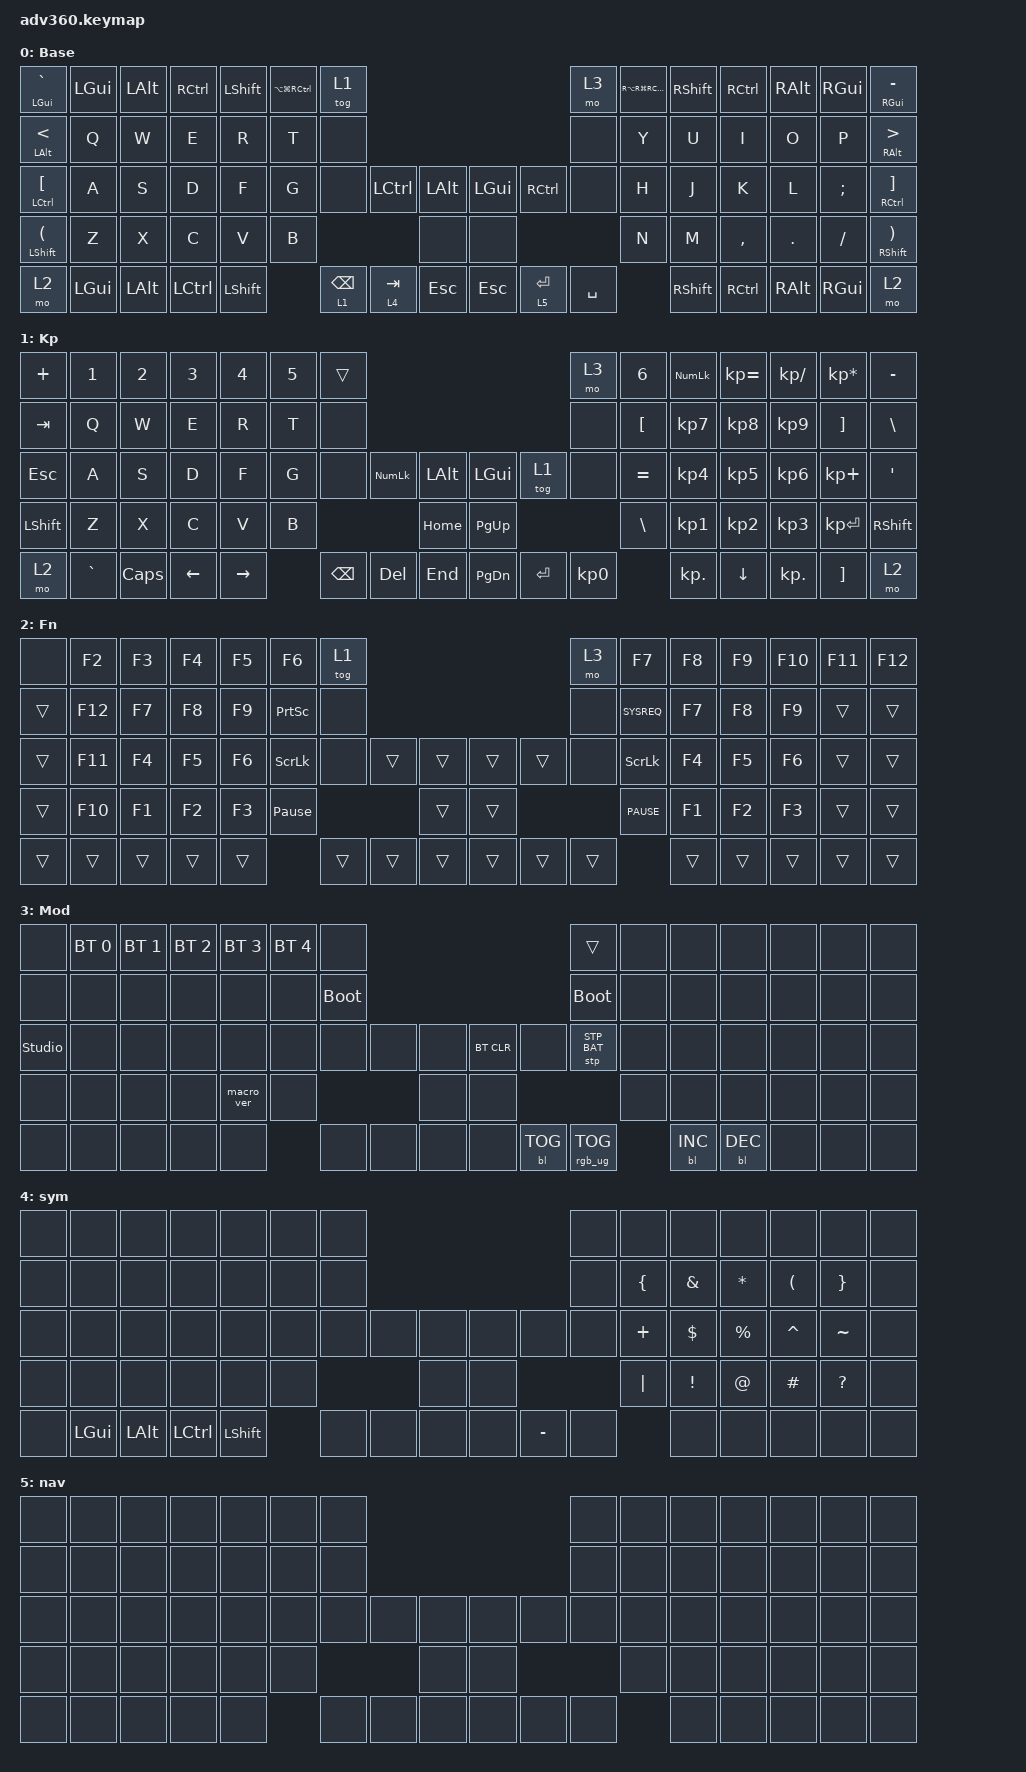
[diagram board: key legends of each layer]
#include <dt-bindings/zmk/stp.h>
#include <behaviors.dtsi>
#include <dt-bindings/zmk/backlight.h>
#include <dt-bindings/zmk/bt.h>
#include <dt-bindings/zmk/keys.h>
#include <dt-bindings/zmk/rgb.h>

/ {
    behaviors {
        #include "macros.dtsi"
      #include "version.dtsi"

        hm: homerow_mods {
            compatible = "zmk,behavior-hold-tap";
            label = "HOMEROW_MODS";
            #binding-cells = <2>;
            tapping-term-ms = <200>;
            quick_tap_ms = <200>;
            flavor = "tap-preferred";
            bindings = <&kp>, <&kp>;

            quick-tap-ms = <200>;
        };
    };

    keymap {
        compatible = "zmk,keymap";

        default_layer {
            display-name = "Base";
            bindings = <
&hm LEFT_GUI GRAVE          &kp LEFT_GUI  &kp LALT      &kp RCTRL  &kp LEFT_SHIFT  &kp LA(LG(RCTRL))  &tog 1                                                                &mo 3      &kp RA(RG(RCTRL))  &kp RIGHT_SHIFT  &kp RCTRL  &kp RIGHT_ALT  &kp RIGHT_GUI  &hm RIGHT_GUI MINUS
&hm LEFT_ALT LT             &kp Q         &kp W         &kp E      &kp R           &kp T              &none                                                                 &none      &kp Y              &kp U            &kp I      &kp O          &kp P          &hm RIGHT_ALT GREATER_THAN
&hm LCTRL LEFT_BRACKET      &kp A         &kp S         &kp D      &kp F           &kp G              &none            &kp LCTRL  &kp LALT        &kp LGUI    &kp RCTRL     &none      &kp H              &kp J            &kp K      &kp L          &kp SEMICOLON  &hm RCTRL RIGHT_BRACKET
&hm LSHFT LEFT_PARENTHESIS  &kp Z         &kp X         &kp C      &kp V           &kp B                                          &none           &none                                &kp N              &kp M            &kp COMMA  &kp DOT        &kp FSLH       &hm RSHFT RIGHT_PARENTHESIS
&mo 2                       &kp LEFT_GUI  &kp LEFT_ALT  &kp LCTRL  &kp LEFT_SHIFT                     &lt 1 BACKSPACE  &lt 4 TAB  &kp ESCAPE      &kp ESCAPE  &lt 5 RETURN  &kp SPACE                     &kp RIGHT_SHIFT  &kp RCTRL  &kp RIGHT_ALT  &kp RIGHT_GUI  &mo 2
            >;
        };

        keypad {
            display-name = "Kp";
            bindings = <
&kp PLUS   &kp NUMBER_1  &kp N2    &kp N3    &kp N4     &kp N5  &trans                                                    &mo 3      &kp N6            &kp KP_NUM  &kp KP_EQUAL  &kp KP_DIVIDE  &kp KP_MULTIPLY    &kp MINUS
&kp TAB    &kp Q         &kp W     &kp E     &kp R      &kp T   &none                                                     &none      &kp LEFT_BRACKET  &kp KP_N7   &kp KP_N8     &kp KP_N9      &kp RIGHT_BRACKET  &kp BSLH
&kp ESC    &kp A         &kp S     &kp D     &kp F      &kp G   &none     &kp KP_NUM  &kp LALT      &kp LGUI   &tog 1     &none      &kp EQUAL         &kp KP_N4   &kp KP_N5     &kp KP_N6      &kp KP_PLUS        &kp SQT
&kp LSHFT  &kp Z         &kp X     &kp C     &kp V      &kp B                         &kp HOME      &kp PG_UP                        &kp BACKSLASH     &kp KP_N1   &kp KP_N2     &kp KP_N3      &kp KP_ENTER       &kp RSHFT
&mo 2      &kp GRAVE     &kp CAPS  &kp LEFT  &kp RIGHT          &kp BSPC  &kp DEL     &kp END       &kp PG_DN  &kp ENTER  &kp KP_N0                    &kp KP_DOT  &kp DOWN      &kp KP_DOT     &kp RBKT           &mo 2
            >;
        };

        fn {
            display-name = "Fn";
            bindings = <
&none   &kp F2   &kp F3  &kp F4  &kp F5  &kp F6           &tog 1                                      &mo 3   &kp F7          &kp F8  &kp F9  &kp F10  &kp F11  &kp F12
&trans  &kp F12  &kp F7  &kp F8  &kp F9  &kp PRINTSCREEN  &none                                       &none   &kp SYSREQ      &kp F7  &kp F8  &kp F9   &trans   &trans
&trans  &kp F11  &kp F4  &kp F5  &kp F6  &kp SCROLLLOCK   &none   &trans  &trans      &trans  &trans  &none   &kp SCROLLLOCK  &kp F4  &kp F5  &kp F6   &trans   &trans
&trans  &kp F10  &kp F1  &kp F2  &kp F3  &kp PAUSE_BREAK                  &trans      &trans                  &kp C_PAUSE     &kp F1  &kp F2  &kp F3   &trans   &trans
&trans  &trans   &trans  &trans  &trans                   &trans  &trans  &trans      &trans  &trans  &trans                  &trans  &trans  &trans   &trans   &trans
            >;
        };

        mod {
            display-name = "Mod";
            bindings = <
&none           &bt BT_SEL 0  &bt BT_SEL 1  &bt BT_SEL 2  &bt BT_SEL 3  &bt BT_SEL 4  &none                                                  &trans           &none  &none       &none       &none  &none  &none
&none           &none         &none         &none         &none         &none         &bootloader                                            &bootloader      &none  &none       &none       &none  &none  &none
&studio_unlock  &none         &none         &none         &none         &none         &none        &none  &none      &bt BT_CLR  &none       &stp STP_BAT     &none  &none       &none       &none  &none  &none
&none           &none         &none         &none         &macro_ver    &none                             &none      &none                                    &none  &none       &none       &none  &none  &none
&none           &none         &none         &none         &none                       &none        &none  &none      &none       &bl BL_TOG  &rgb_ug RGB_TOG         &bl BL_INC  &bl BL_DEC  &none  &none  &none
            >;
        };

        sym {
            bindings = <
&none  &none         &none         &none      &none           &none  &none                                      &none  &none           &none            &none         &none                 &none            &none
&none  &none         &none         &none      &none           &none  &none                                      &none  &kp LEFT_BRACE  &kp AMPERSAND    &kp ASTERISK  &kp LEFT_PARENTHESIS  &kp RIGHT_BRACE  &none
&none  &none         &none         &none      &none           &none  &none  &none  &none      &none  &none      &none  &kp PLUS        &kp DOLLAR       &kp PERCENT   &kp CARET             &kp TILDE        &none
&none  &none         &none         &none      &none           &none                &none      &none                    &kp PIPE        &kp EXCLAMATION  &kp AT_SIGN   &kp HASH              &kp QUESTION     &none
&none  &kp LEFT_GUI  &kp LEFT_ALT  &kp LCTRL  &kp LEFT_SHIFT         &none  &none  &none      &none  &kp MINUS  &none                  &none            &none         &none                 &none            &none
            >;
        };

        nav {
            bindings = <
&none  &none  &none  &none  &none  &none  &none                                  &none  &none  &none  &none  &none  &none  &none
&none  &none  &none  &none  &none  &none  &none                                  &none  &none  &none  &none  &none  &none  &none
&none  &none  &none  &none  &none  &none  &none  &none  &none      &none  &none  &none  &none  &none  &none  &none  &none  &none
&none  &none  &none  &none  &none  &none                &none      &none                &none  &none  &none  &none  &none  &none
&none  &none  &none  &none  &none         &none  &none  &none      &none  &none  &none         &none  &none  &none  &none  &none
            >;
        };
    };
};
